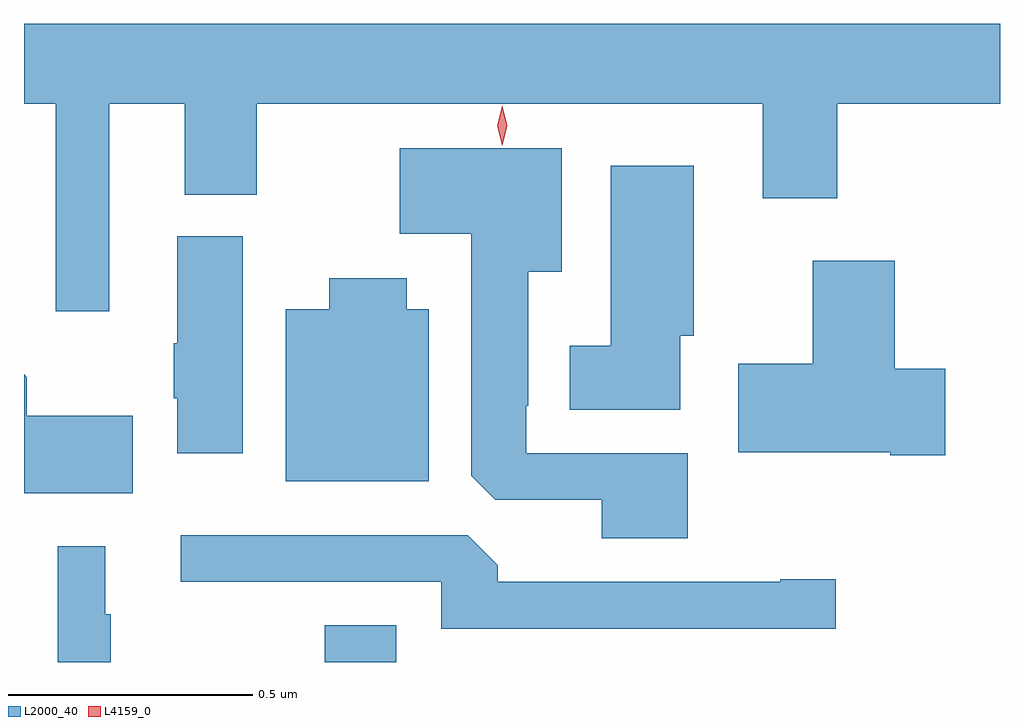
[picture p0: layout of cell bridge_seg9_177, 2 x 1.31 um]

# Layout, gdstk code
import gdstk
lib = gdstk.Library(unit=1e-6, precision=1e-09)
def R(c, l, rs):  # rectangles x0, y0, x1, y1
    for r in rs: c.add(gdstk.rectangle(r[:2], r[2:], *l))
def P(c, l, *ps):  # polygons
    for p in ps: c.add(gdstk.Polygon(p, *l))
L2000_40 = (2000, 40)
L4159_0 = (4159, 0)

bridge_seg9_177 = lib.new_cell('bridge_seg9_177')
R(bridge_seg9_177, L2000_40, [(155.674,1240.563,155.821,1240.639)])
P(bridge_seg9_177, L2000_40, [(155.233,1241.708),(155.387,1241.708),(155.387,1241.521),(155.535,1241.521),(155.535,1241.708),(156.572,1241.708),(156.572,1241.514),(156.725,1241.514),(156.725,1241.708),(157.058,1241.708),(157.058,1241.872),(155.058,1241.872),(155.058,1241.708),(155.123,1241.708),(155.123,1241.283),(155.233,1241.283)],
  [(156.418,1240.992),(156.087,1240.992),(156.087,1241.089),(156.091,1241.089),(156.091,1241.363),(156.16,1241.363),(156.16,1241.617),(155.828,1241.617),(155.828,1241.441),(155.975,1241.441),(155.975,1240.945),(156.024,1240.896),(156.242,1240.896),(156.242,1240.817),(156.418,1240.817)],
  [(156.403,1241.232),(156.43,1241.232),(156.43,1241.581),(156.26,1241.581),(156.26,1241.212),(156.176,1241.212),(156.176,1241.081),(156.403,1241.081)],
  [(155.506,1241.436),(155.372,1241.436),(155.372,1241.217),(155.365,1241.217),(155.365,1241.104),(155.372,1241.104),(155.372,1240.992),(155.506,1240.992)],
  [(156.946,1241.165),(156.842,1241.165),(156.842,1241.386),(156.674,1241.386),(156.674,1241.175),(156.522,1241.175),(156.522,1240.994),(156.833,1240.994),(156.833,1240.987),(156.946,1240.987)],
  [(155.887,1241.287),(155.842,1241.287),(155.842,1241.35),(155.684,1241.35),(155.684,1241.287),(155.594,1241.287),(155.594,1240.934),(155.887,1240.934)],
  [(155.281,1241.068),(155.064,1241.068),(155.064,1241.147),(155.058,1241.153),(155.058,1240.91),(155.281,1240.91)],
  [(156.721,1240.733),(156.608,1240.733),(156.608,1240.728),(156.029,1240.728),(156.029,1240.762),(155.967,1240.824),(155.379,1240.824),(155.379,1240.728),(155.913,1240.728),(155.913,1240.632),(156.721,1240.632)],
  [(155.236,1240.662),(155.224,1240.662),(155.224,1240.801),(155.127,1240.801),(155.127,1240.563),(155.236,1240.563)])
P(bridge_seg9_177, L4159_0, [(156.038,1241.622),(156.038,1241.622),(156.028,1241.663),(156.038,1241.703),(156.038,1241.704),(156.038,1241.703),(156.048,1241.663),(156.038,1241.622)])

lib.write_gds('bridge_seg9_177.gds')
